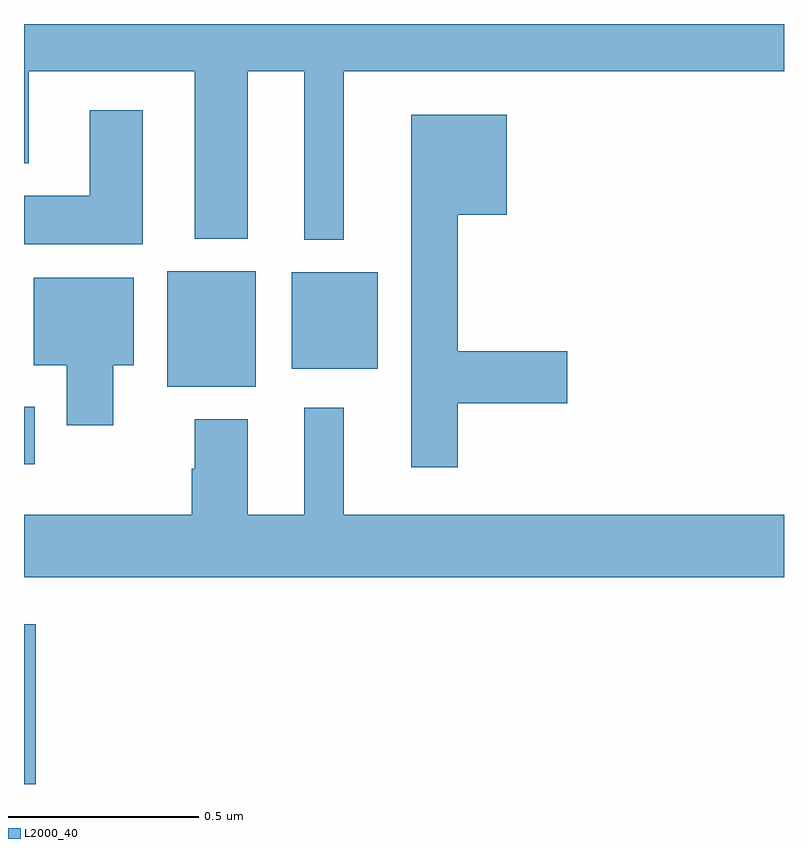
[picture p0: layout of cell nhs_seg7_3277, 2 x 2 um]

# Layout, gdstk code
import gdstk
lib = gdstk.Library(unit=1e-6, precision=1e-09)
def R(c, l, rs):  # rectangles x0, y0, x1, y1
    for r in rs: c.add(gdstk.rectangle(r[:2], r[2:], *l))
def P(c, l, *ps):  # polygons
    for p in ps: c.add(gdstk.Polygon(p, *l))
L2000_40 = (2000, 40)

nhs_seg7_3277 = lib.new_cell('nhs_seg7_3277')
R(nhs_seg7_3277, L2000_40, [(156,1072,156.031,1072.42), (156,1072.841,156.028,1072.993), (156.377,1073.045,156.61,1073.35), (156.704,1073.093,156.931,1073.347)])
P(nhs_seg7_3277, L2000_40, [(156.841,1073.876),(158,1073.876),(158,1074),(156,1074),(156,1073.633),(156.013,1073.633),(156.013,1073.876),(156.449,1073.876),(156.449,1073.435),(156.589,1073.435),(156.589,1073.876),(156.737,1073.876),(156.737,1073.432),(156.841,1073.432)],
  [(156.313,1073.773),(156.173,1073.773),(156.173,1073.548),(156,1073.548),(156,1073.42),(156.313,1073.42)],
  [(157.141,1073.002),(157.429,1073.002),(157.429,1073.139),(157.141,1073.139),(157.141,1073.498),(157.27,1073.498),(157.27,1073.761),(157.019,1073.761),(157.019,1072.833),(157.141,1072.833)],
  [(156.235,1073.102),(156.289,1073.102),(156.289,1073.332),(156.026,1073.332),(156.026,1073.102),(156.113,1073.102),(156.113,1072.944),(156.235,1072.944)],
  [(158,1072.708),(156.841,1072.708),(156.841,1072.99),(156.737,1072.99),(156.737,1072.708),(156.589,1072.708),(156.589,1072.96),(156.449,1072.96),(156.449,1072.829),(156.442,1072.829),(156.442,1072.708),(156,1072.708),(156,1072.544),(158,1072.544)])

lib.write_gds('nhs_seg7_3277.gds')
